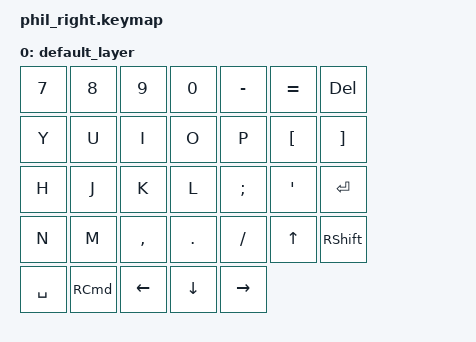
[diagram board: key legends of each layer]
/ {
    keymap {
        compatible = "zmk,keymap";

        default_layer {
            bindings = <
                &kp N7    &kp N8    &kp N9    &kp N0    &kp MINUS &kp EQUAL    &kp DEL
                &kp Y     &kp U     &kp I     &kp O     &kp P     &kp LBKT     &kp RBKT
                &kp H     &kp J     &kp K &kp L &kp SEMI &kp APOS &kp RET
                &kp N &kp M &kp COMMA &kp DOT &kp SLASH &kp UP &kp RSHIFT
                &kp SPACE &kp RCMD &kp LEFT &kp DOWN &kp RIGHT
            >;
        };
    };
};
